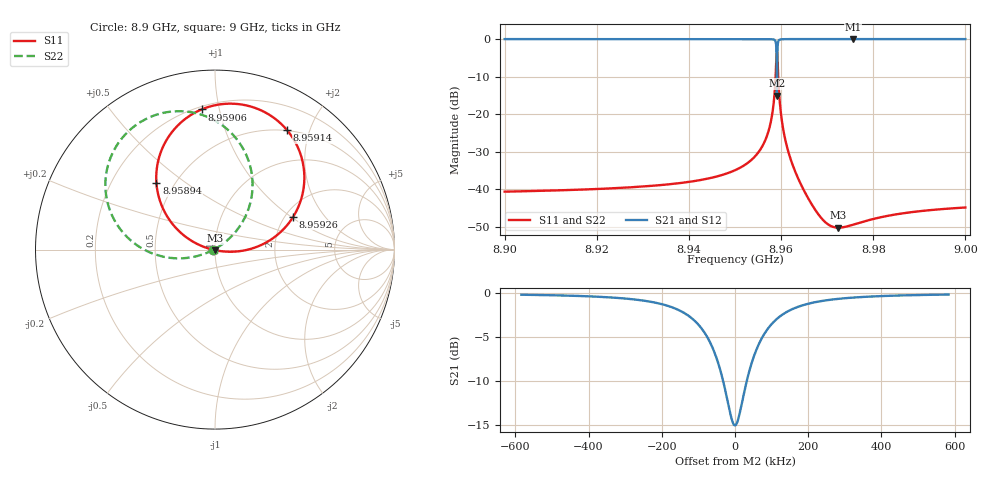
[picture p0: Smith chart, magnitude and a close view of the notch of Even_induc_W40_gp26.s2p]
! Sonnet Data File
! From: emgraph Version : 16.52
! From Project: Resonator2_cp
! Data is De-embedded
! Data File Written: 10/09/2017 00:47:19
!< HDATE 10/08/2017 10:09:33
!< MDATE 10/08/2017 10:09:33
!< PARAMS
!< Length = 400.0
!< Pwid1 = 2000.0
!< Pwid2 = 2000.0
!< Air_gap = 24.0
!< Width = 40.0
!< gap = 26.0
!< END PARAMS
# GHZ S MA R 51.00000
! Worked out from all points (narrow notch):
!   1595 points, 8.9 GHz to 9 GHz, reference 51 ohm
!   highest |S21| = 0.00 dB at 8.9756 GHz (marker M1); lowest = -15.0 dB at 8.9591 GHz (marker M2)
!   notch at M2: 15.0 dB deep, 98.1 kHz wide at half that depth
!   lowest |S11| = -50.2 dB at 8.9724 GHz (marker M3), VSWR 1.01, Z = 50.9 - j0.308 ohm
!   |S11| at or under -10 dB: start of sweep to 8.95881 GHz; 8.959373 GHz to end of sweep
!   |S22| runs from -50.1 to -1.7 dB; largest |S21 - S12| = 0
!   S11 on the Smith chart (normalised r, x): 8.9 GHz: 0.98, -0.00; 8.95894 GHz: 0.40, +0.39; 8.95906 GHz: 0.22, +0.89; 8.95914 GHz: 0.49, +1.66; 8.95926 GHz: 2.21, +1.05; 9 GHz: 0.99, -0.00
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8.9  0.009318 -172.8  1 -81.6  1 -81.6  0.009318 -170.5
!< P1 F=8.9 Eeff=(6.44311882 -2.9701e-5) Z0=(50.4817959 1.16462e-4) R=0.0 C=0.0
!< P2 F=8.9 Eeff=(6.44311882 -2.9701e-5) Z0=(50.4817959 1.16462e-4) R=0.0 C=0.0
8.9167  0.009922 -174.2  0.9999 -81.8  0.9999 -81.8  0.009923 -169.5
8.9334  0.01133 -176.7  0.9999 -82.0  0.9999 -82.0  0.01133 -167.4
8.95  0.01796 176.7  0.9998 -82.6  0.9998 -82.6  0.01796 -162.1
8.954195  0.02686 172.8  0.9996 -83.1  0.9996 -83.1  0.02688 -159.4
8.956877  0.05025 168.0  0.9983 -84.5  0.9983 -84.5  0.0503 -157.9
8.958287  0.1237 160.8  0.9893 -88.8  0.9893 -88.8  0.1239 -161.0
8.958763  0.2748 149.1  0.9452 -97.6  0.9452 -97.6  0.2752 -171.1
8.958942  0.493 131.4  0.8088 -110.9  0.8088 -110.9  0.4937 171.9
8.959063  0.7846 95.4  0.3455 -124.9  0.3455 -124.9  0.7856 136.4
8.959099  0.8221 77.9  0.1773 -81.9  0.1773 -81.9  0.8232 118.9
8.959139  0.7777 59.0  0.363 -38.1  0.363 -38.1  0.7787 100.2
8.959201  0.6166 36.4  0.6727 -44.5  0.6727 -44.5  0.6175 77.9
8.959263  0.4735 22.8  0.8224 -53.6  0.8224 -53.6  0.4741 64.5
8.959435  0.2634 6.0  0.9482 -66.4  0.9482 -66.4  0.2637 48.4
8.959806  0.1269 -4.5  0.988 -74.4  0.988 -74.4  0.1271 39.3
8.961  0.04325 -13.1  0.9985 -79.2  0.9985 -79.2  0.04333 36.2
8.9667  0.006245 -41.4  0.9999 -81.4  0.9999 -81.4  0.006282 59.1
8.9724  0.003091 -101.6  1 -81.8  1 -81.8  0.003118 118.0
8.9756  0.00338 -126.1  1 -81.9  1 -81.9  0.003397 142.2
8.9834  0.004471 -148.7  1 -82.0  1 -82.0  0.004478 164.5
9  0.005734 -160.1  1 -82.3  1 -82.3  0.005737 175.4
